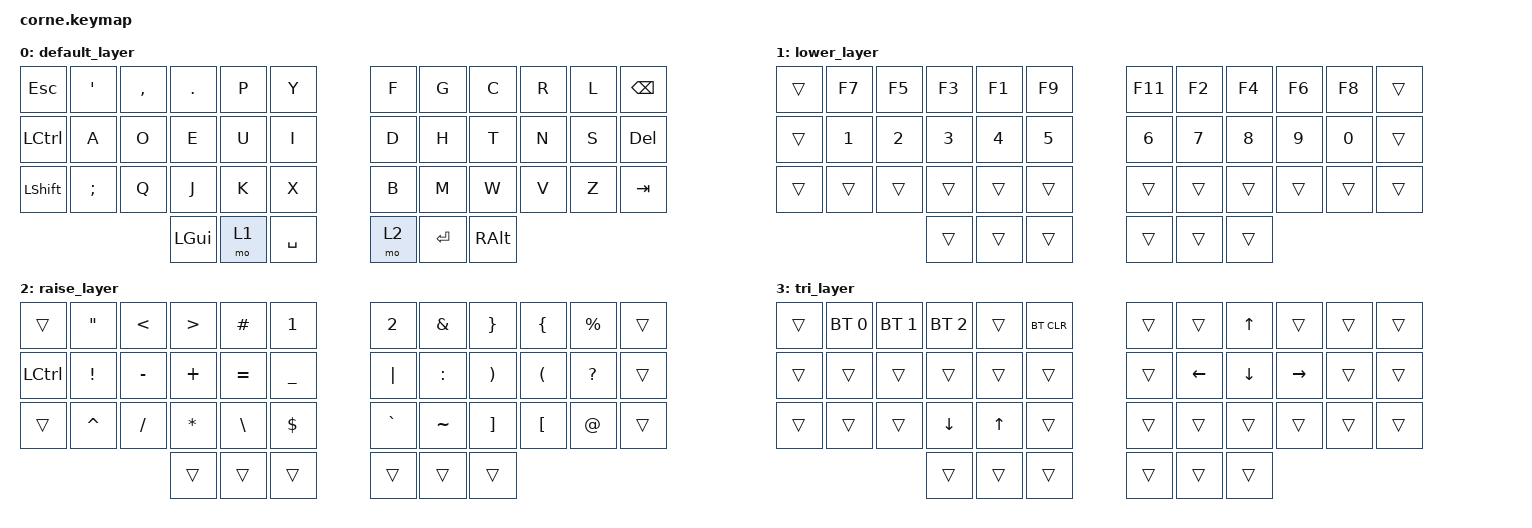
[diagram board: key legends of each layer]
#include <behaviors.dtsi>
#include <dt-bindings/zmk/keys.h>
#include <dt-bindings/zmk/bt.h>

/ {
    conditional_layers {
        compatible = "zmk,conditional-layers";
        tri_layer {
            if-layers = <1 2>;
            then-layer = <3>;
        };
    };

    keymap {
        compatible = "zmk,keymap";

        default_layer {
//  +------------------------------------+        +------------------------------------+
//  | ESC  |  '  |  ,  |  .  |  P  |  Y  |        |  F  |  G  |  C  |  R  |  L  | BKSP |
//  | CTRL |  A  |  O  |  E  |  U  |  I  |        |  D  |  H  |  T  |  N  |  S  | DEL  |
//  | SHFT |  ;  |  Q  |  J  |  K  |  X  |        |  B  |  M  |  W  |  V  |  Z  | TAB  |
//  +------------------| GUI | LWR | SPC |        | RSE | ENT | ALT |------------------+
//                     +-----------------+        +-----------------+
            bindings = <
&kp ESC   &kp SQT  &kp COMMA &kp DOT &kp P &kp Y    &kp F &kp G &kp C &kp R &kp L &kp BSPC
&kp LCTRL &kp A    &kp O     &kp E   &kp U &kp I    &kp D &kp H &kp T &kp N &kp S &kp DEL
&kp LSHFT &kp SEMI &kp Q     &kp J   &kp K &kp X    &kp B &kp M &kp W &kp V &kp Z &kp TAB
                        &kp LGUI &mo 1 &kp SPACE    &mo 2 &kp RET &kp RALT
            >;
        };

        lower_layer {
//  +------------------------------------+        +------------------------------------+
//  | ESC  | F7  | F5  | F3  | F1  | F9  |        | F11 | F2  | F4  | F6  | RGT | BKSP |
//  | CTRL |  1  |  2  |  3  |  4  |  5  |        |  6  |  7  |  8  |  9  |  0  | DEL  |
//  | SHFT |     |     |     |     |     |        |     |     |     |     |     | TAB  |
//  +------------------| GUI |     | SPC |        |     | ENT | ALT |------------------+
//                     +-----------------+        +-----------------+
            bindings = <
&trans &kp F7 &kp F5 &kp F3 &kp F1 &kp F9         &kp F11 &kp F2 &kp F4 &kp F6 &kp F8 &trans
&trans &kp N1 &kp N2 &kp N3 &kp N4 &kp N5         &kp N6  &kp N7 &kp N8 &kp N9 &kp N0 &trans
&trans &trans &trans &trans &trans &trans         &trans  &trans &trans &trans &trans &trans
                     &trans &trans &trans         &trans  &trans &trans
            >;
        };

        raise_layer {
//  +------------------------------------+        +------------------------------------+
//  | ESC  |  "  |  <  |  >  |  #  |  1  |        |  2  |  &  |  }  |  {  |  %  | BKSP |
//  | CTRL |  !  |  -  |  +  |  =  |  _  |        |  |  |  :  |  )  |  (  |  ?  | DEL  |
//  | SHFT |  ^  |  /  |  *  |  \  |  $  |        |  `  |  ~  |  ]  |  [  |  @  | TAB  |
//  +------------------| GUI |     | SPC |        |     | ENT | ALT |------------------+
//                     +-----------------+        +-----------------+
            bindings = <
&trans    &kp DQT   &kp LT    &kp GT   &kp HASH  &kp N1      &kp N2    &kp AMPS  &kp RBRC &kp LBRC &kp PRCNT &trans
&kp LCTRL &kp EXCL  &kp MINUS &kp PLUS &kp EQUAL &kp UNDER   &kp PIPE  &kp COLON &kp RPAR &kp LPAR &kp QMARK &trans
&trans    &kp CARET &kp FSLH  &kp STAR &kp BSLH  &kp DLLR    &kp GRAVE &kp TILDE &kp RBKT &kp LBKT &kp AT    &trans
                    	           &trans &trans &trans      &trans &trans &trans
            >;
        };
        
		tri_layer {
//  +------------------------------------+        +------------------------------------+
//  | ESC  | BT0 | BT1 | BT2 |     | BCR |        |     |     | UP  |     |     | BKSP |
//  | CTRL |     |     |     |     |     |        |     | LFT | DWN | RGT |     | DEL  |
//  | SHFT |     |     |     |     |     |        |     |     |     |     |     | TAB  |
//  +------------------| GUI |     | SPC |        |     | ENT | ALT |------------------+
//                     +-----------------+        +-----------------+
            bindings = <
&trans &bt BT_SEL 0 &bt BT_SEL 1 &bt BT_SEL 2 &trans &bt BT_CLR    &trans &trans   &kp UP   &trans    &trans &trans
&trans &trans       &trans       &trans       &trans &trans        &trans &kp LEFT &kp DOWN &kp RIGHT &trans &trans
&trans &trans       &trans       &kp DOWN     &kp UP &trans        &trans &trans   &trans   &trans    &trans &trans
                                       &trans &trans &trans        &trans &trans &trans
            >;
        };
    };
};
